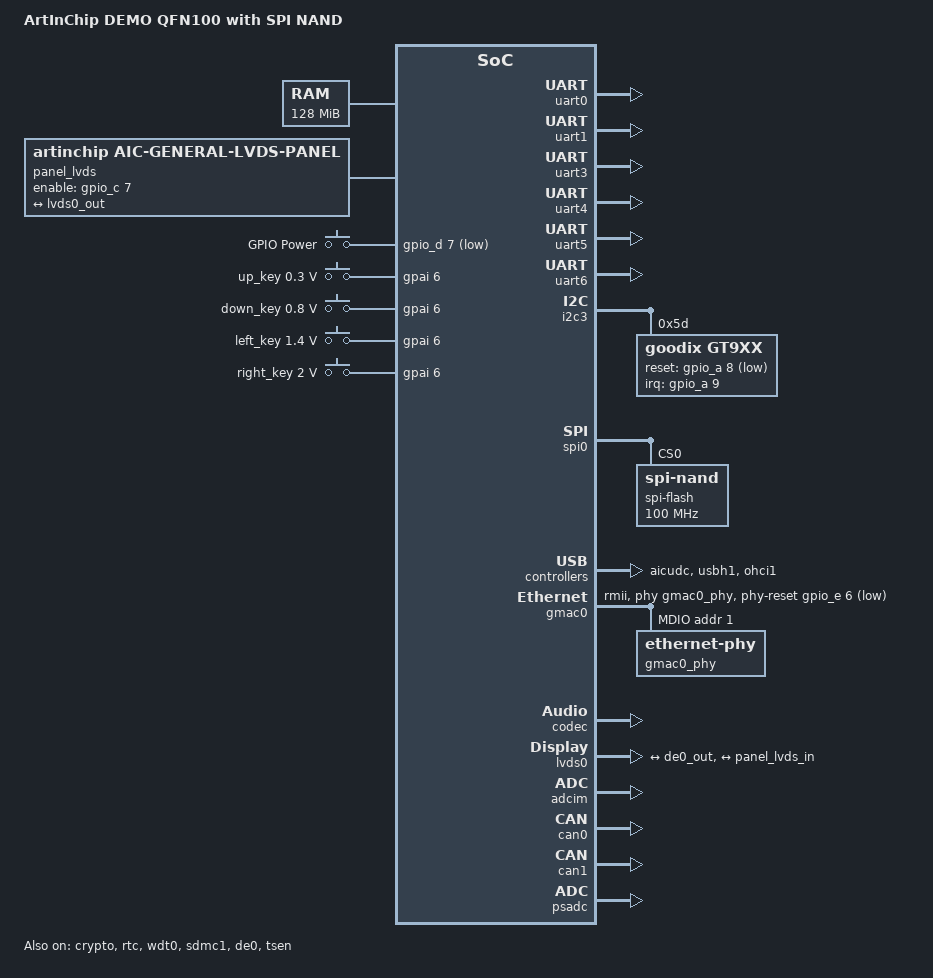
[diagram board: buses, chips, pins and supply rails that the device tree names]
/*
 * Copyright (C) 2020-2022 ArtInChip Technology Co., Ltd.
 *
 * This file is dual-licensed: you can use it either under the terms
 * of the GPL or the X11 license, at your option. Note that this dual
 * licensing only applies to this file, and not this project as a
 * whole.
 *
 *  a) This file is free software; you can redistribute it and/or
 *     modify it under the terms of the GNU General Public License as
 *     published by the Free Software Foundation; either version 2 of the
 *     License, or (at your option) any later version.
 *
 *     This file is distributed in the hope that it will be useful,
 *     but WITHOUT ANY WARRANTY; without even the implied warranty of
 *     MERCHANTABILITY or FITNESS FOR A PARTICULAR PURPOSE.  See the
 *     GNU General Public License for more details.
 *
 * Or, alternatively,
 *
 *  b) Permission is hereby granted, free of charge, to any person
 *     obtaining a copy of this software and associated documentation
 *     files (the "Software"), to deal in the Software without
 *     restriction, including without limitation the rights to use,
 *     copy, modify, merge, publish, distribute, sublicense, and/or
 *     sell copies of the Software, and to permit persons to whom the
 *     Software is furnished to do so, subject to the following
 *     conditions:
 *
 *     The above copyright notice and this permission notice shall be
 *     included in all copies or substantial portions of the Software.
 *
 *     THE SOFTWARE IS PROVIDED "AS IS", WITHOUT WARRANTY OF ANY KIND,
 *     EXPRESS OR IMPLIED, INCLUDING BUT NOT LIMITED TO THE WARRANTIES
 *     OF MERCHANTABILITY, FITNESS FOR A PARTICULAR PURPOSE AND
 *     NONINFRINGEMENT. IN NO EVENT SHALL THE AUTHORS OR COPYRIGHT
 *     HOLDERS BE LIABLE FOR ANY CLAIM, DAMAGES OR OTHER LIABILITY,
 *     WHETHER IN AN ACTION OF CONTRACT, TORT OR OTHERWISE, ARISING
 *     FROM, OUT OF OR IN CONNECTION WITH THE SOFTWARE OR THE USE OR
 *     OTHER DEALINGS IN THE SOFTWARE.
 */

/dts-v1/;
#include "d211.dtsi"
#include "d211-pinctrl.dtsi"
#include <dt-bindings/display/artinchip,aic-disp.h>
#include <dt-bindings/gpio/gpio.h>
#include <dt-bindings/pwm/pwm.h>
#include <dt-bindings/input/input.h>
#include <dt-bindings/input/linux-event-codes.h>

/ {
	model = "ArtInChip DEMO QFN100 with SPI NAND";
	compatible = "artinchip,d211";
	package = "QFN128";

	aliases {
		gpio0 = &gpio_a;
		gpio1 = &gpio_b;
		gpio2 = &gpio_c;
		gpio3 = &gpio_d;
		gpio4 = &gpio_e;
		gpio5 = &gpio_f;
		pinctrl = &pinctrl;
		serial0 = &uart0;
		serial1 = &uart1;
		serial2 = &uart2;
		serial3 = &uart3;
		serial4 = &uart4;
		serial5 = &uart5;
		serial6 = &uart6;
		serial7 = &uart7;
		i2c0 = &i2c0;
		i2c1 = &i2c1;
		i2c2 = &i2c2;
		i2c3 = &i2c3;
		can0 = &can0;
		can1 = &can1;
		spi0 = &spi0;
		spi1 = &spi1;
		spi2 = &spi2;
		spi3 = &spi3;
		gmac0 = &gmac0;
		gmac1 = &gmac1;
		rtc = &rtc;
		wdt0 = &wdt0;
		fb0 = &fb0;
		de0 = &de0;
		lvds0 = &lvds0;
		rgb0 = &rgb0;
		dsi0 = &dsi0;
		dvp0 = &dvp0;
		cir = &cir;
		adcim = &adcim;
		gpai = &gpai;
		rtp = &rtp;
		tsen = &tsen;
		pwm = &pwm;
		sdmc0 = &sdmc0;
		sdmc1 = &sdmc1;
		sdmc2 = &sdmc2;
		psadc = &psadc;
	};

	cpus {
		u-boot,dm-pre-reloc;
		cpu0: cpu@0 {
			u-boot,dm-pre-reloc;
		};
	};
	clocks {
		u-boot,dm-pre-reloc;
	};
	soc {
		u-boot,dm-pre-reloc;
	};
	timer {
		u-boot,dm-pre-reloc;
	};

	chosen {
		stdout-path = "serial0:115200n8";
		bootargs = "rdinit=/init earlycon=sbi loglevel=7";
		reset-after-fw-burn;
	};

	memory@40000000 {
		device_type = "memory";
		reg = <0x0 0x40000000 0x0 0x8000000>;
		u-boot,dm-pre-reloc;
	};

	/* Reserved 1M memory for aic ramdump
	   When enable CONFIG_AIC_RAMDUMP in linux kernel, also must enable below node.
	*/
	reserved-memory {
		#address-cells = <2>;
		#size-cells = <2>;
		ranges;

	#if 0
		aic_ramdump_buf {
			compatible = "artinchip,aic-ramdump";
			no-map;
			reg = <0x43f00000 0x100000>;
		};
	#endif
		};
#if 0
	syspower {
		compatible = "artinchip,aic-power";
		power-gpios = <&gpio_e 13 GPIO_ACTIVE_HIGH>;
	};
#endif

	panel_rgb {
		compatible = "artinchip,aic-general-rgb-panel";
		status = "disabled";

		enable-gpios = <&gpio_e 19 GPIO_ACTIVE_HIGH>;
		rgb-mode = <PRGB>;
		interface-format = <PRGB_16BIT_LD>;
		clock-phase = <DEGREE_0>;
		data-order = <RGB>;
		disp-dither = <DITHER_RGB565>;
		u-boot,dm-pre-reloc;

		port {
			u-boot,dm-pre-reloc;
			panel_rgb_in: endpoint {
				remote-endpoint = <&rgb0_out>;
				u-boot,dm-pre-reloc;
			};
		};

		display-timings {
			native-mode = <&timing0>;
			u-boot,dm-pre-reloc;
			timing0: 1024x600 {
				clock-frequency = <52000000>;
				hactive = <1024>;
				vactive = <600>;
				hback-porch = <160>;
				hfront-porch = <160>;
				hsync-len = <20>;
				vback-porch = <12>;
				vfront-porch = <20>;
				vsync-len = <3>;
				de-active = <1>;
				pixelclk-active = <1>;
				u-boot,dm-pre-reloc;
			};
		};
	};

	panel_lvds {
		compatible = "artinchip,aic-general-lvds-panel";
		data-mapping = "vesa-24";
		data-channel = "single-link1";
		status = "okay";
		u-boot,dm-pre-reloc;

		enable-gpios = <&gpio_c 7 GPIO_ACTIVE_HIGH>;
		port {
			panel_lvds_in: endpoint {
				remote-endpoint = <&lvds0_out>;
				u-boot,dm-pre-reloc;
			};
		};

		display-timings {
			native-mode = <&timing1>;
			u-boot,dm-pre-reloc;
			timing1: 1024x600 {
				clock-frequency = <52000000>;
				hactive = <1024>;
				vactive = <600>;
				hback-porch = <160>;
				hfront-porch = <160>;
				hsync-len = <20>;
				vback-porch = <20>;
				vfront-porch = <12>;
				vsync-len = <3>;
				de-active = <1>;
				pixelclk-active = <1>;
				u-boot,dm-pre-reloc;
			};
		};
	};

	backlight: backlight {
		compatible = "pwm-backlight";
		/* pwm node name; pwm device No.; period_ns; pwm_polarity */
		pwms = <&pwm 3 1000000 0>;
		brightness-levels = <0 10 20 30 40 50 60 70 80 90 100>;
		default-brightness-level = <6>;
		u-boot,dm-pre-reloc;
		status = "disabled";
	};

	keys: gpio-keys {
		compatible = "gpio-keys";

		power {
			wakeup-source;
			gpios = <&gpio_d 7 GPIO_ACTIVE_LOW>;
			label = "GPIO Power";
			linux,code = <KEY_POWER>;
		};
	};

	key_button: adc-keys {
		compatible = "adc-keys";
		io-channels = <&gpai 6>;
		io-channel-names = "buttons";
		poll-interval = <200>;
		keyup-threshold-microvolt = <3000000>;

		up-key {
			label = "up_key";
			linux,code = <KEY_UP>;
			press-threshold-microvolt = <300000>;
		};

		down-key {
			label = "down_key";
			linux,code = <KEY_DOWN>;
			press-threshold-microvolt = <800000>;
		};

		left-key {
			label = "left_key";
			linux,code = <KEY_LEFT>;
			press-threshold-microvolt = <1400000>;
		};

		right-key {
			label = "right_key";
			linux,code = <KEY_RIGHT>;
			press-threshold-microvolt = <2000000>;
		};
	};
};

&crypto {
	status = "okay";
};

&dma {
	u-boot,dm-pre-reloc;
};

&cmu {
	pll-int0 = <600000000>;
	pll-int1 = <1200000000>;
	pll-frac1 = <491520000>;
	pll-frac2 = <840000000>;
	axi0 = <240000000>;
	ahb0 = <240000000>;
	apb0 = <100000000>;
	apb1 = <24000000>;
	clk-out0 = <25000000>;
	clk-out1 = <25000000>;
	clk-out2 = <25000000>;
	clk-out3 = <25000000>;
	// clk-out0-enable;
	// clk-out1-enable;
	/* Enable clock out2 */
	clk-out2-enable;
	// clk-out3-enable;
	u-boot,dm-pre-reloc;
};

&rst {
	u-boot,dm-pre-reloc;
};

&rtc {
	aic,alarm-io-output;
	status = "okay";
};

&wdt0 {
	timeout-sec = <16>;
	status = "okay";
};

&uart0 {
	pinctrl-names = "default";
	pinctrl-0 = <&uart0_pins_a>;
	status = "okay";
	u-boot,dm-pre-reloc;
};

&uart1 {
	pinctrl-names = "default";
	pinctrl-0 = <&uart1_pins_a>;
	linux,rs485-enabled-at-boot-time;
	aic,rs485-compact-io-mode;
	status = "okay";
};

&uart2 {
	pinctrl-names = "default";
	pinctrl-0 = <&uart2_pins_a>;
	status = "disabled";
};

&uart3 {
	pinctrl-names = "default";
	pinctrl-0 = <&uart3_pins_c>;
	linux,rs485-enabled-at-boot-time;
	aic,rs485-compact-io-mode;
	status = "okay";
};

&uart4 {
	pinctrl-names = "default";
	pinctrl-0 = <&uart4_pins_b>;
	status = "okay";
};

&uart5 {
	pinctrl-names = "default";
	pinctrl-0 = <&uart5_pins_c>;
	status = "okay";
};

&uart6 {
	pinctrl-names = "default";
	pinctrl-0 = <&uart6_pins_b>;
	status = "okay";
};

&uart7 {
	pinctrl-names = "default";
	pinctrl-0 = <&uart7_pins_a>;
	status = "disabled";
};

&i2c0 {
	pinctrl-names = "default";
	pinctrl-0 = <&i2c0_pins_b>;
	status = "disabled";
	rtc@32 {
		compatible = "epson,rx8010";
		reg = <0x32>;
	};
};

&i2c1 {
	pinctrl-names = "default";
	pinctrl-0 = <&i2c1_pins_a>;
	status = "disabled";
};

&i2c2 {
	pinctrl-names = "default";
	pinctrl-0 = <&i2c2_pins_a>;
	status = "disabled";
};

&i2c3 {
	pinctrl-names = "default";
	pinctrl-0 = <&i2c3_pins_a>;
	status = "okay";

	gt9xx@5d {
		status = "okay";
		compatible = "goodix,gt9xx";
		reg = <0x5d>;
		reset-gpios = <&gpio_a 8 GPIO_ACTIVE_LOW>;
		irq-gpios = <&gpio_a 9 GPIO_ACTIVE_HIGH>;
		irq-flags = <2>;

		touchscreen-max-id = <11>;
		touchscreen-size-x = <1024>;
		touchscreen-size-y = <600>;
		touchscreen-max-w = <512>;
		touchscreen-max-p = <512>;

		goodix,int-sync = <1>;
	};
};

&spi0 {
	pinctrl-names = "default";
	pinctrl-0 = <&spi0_pins_a>;
	status = "okay";
	u-boot,dm-pre-reloc;
	spi-max-frequency = <100000000>;
	spi-flash@0 {
		#address-cells = <1>;
		#size-cells = <1>;
		compatible = "spi-nand";
		spi-max-frequency = <100000000>;
		spi-tx-bus-width = <4>;
		spi-rx-bus-width = <4>;
		reg = <0>;
		// aic,encrypt;
		// aic,spi-id = <0>;
		status = "okay";
		u-boot,dm-pre-reloc;
	};
};

&spi1 {
	pinctrl-names = "default";
	pinctrl-0 = <&spi1_pins_a>;
	status = "disabled";
};

&spi2 {
	pinctrl-names = "default";
	pinctrl-0 = <&spi2_pins_a>;
	status = "disabled";
};

&spi3 {
	pinctrl-names = "default";
	pinctrl-0 = <&spi3_pins_a>;
	status = "disabled";
};

&sdmc0 {
	pinctrl-names = "default";
	pinctrl-0 = <&sdmc0_pins>;
	bus-width = <4>;
	cap-mmc-highspeed;
	status = "disabled";
};

&sdmc1 {
	pinctrl-names = "default";
	pinctrl-0 = <&sdmc1_pins>;
	bus-width = <4>;
	cap-sd-highspeed;
	status = "okay";
	u-boot,dm-pre-reloc;
};

&sdmc2 {
	pinctrl-names = "default";
	pinctrl-0 = <&sdmc2_pins>;
	status = "disabled";
};

/* case 1: USB0 = OTG Enable */
#if 0
&otg {
	dp-sw-gpios = <&gpio_a 2 GPIO_ACTIVE_LOW>;
	otg-mode = "device";
	status = "okay";
};

&aicudc {
	pinctrl-names = "default";
	pinctrl-0 = <&usb0_pins_a>;
	status = "okay";
};

&usbh0 {
	aic,usb-ext-resistance = <0x40>;
	status = "okay";
};

&ohci0 {
	status = "okay";
};

/* case 2: USB0 = OTG Disable */
#else

&otg {
	status = "disabled";
};

/* case 2.1: USB0 = Device */
#if 1
&aicudc {
	pinctrl-names = "default";
	pinctrl-0 = <&usb0_pins_a>;
	status = "okay";
};

&usbh0 {
	aic,usb-ext-resistance = <0x40>;
	status = "disabled";
};
&ohci0 {
	status = "disabled";
};

/* case 2.2: USB0 = Host */
#else
&aicudc {
	aic,only-uboot-use;
	status = "okay";
};

&usbh0 {
	pinctrl-names = "default";
	pinctrl-0 = <&usb0_pins_a>;
	artinchip,sw_usb_phy0;
	aic,usb-ext-resistance = <0x40>;
	status = "okay";
};
&ohci0 {
	status = "okay";
};
#endif
#endif

&usbh1 {
	aic,usb-ext-resistance = <0x40>;
	status = "okay";
};
&ohci1 {
	status = "okay";
};

&pinctrl {
	u-boot,dm-pre-reloc;
	gmac0_local_pins: gmac0-2 {
		pins {
			pinmux = <AIC_PINMUX('E', 0, 6)>,
				 <AIC_PINMUX('E', 1, 6)>,
				 <AIC_PINMUX('E', 2, 6)>,
				 <AIC_PINMUX('E', 3, 6)>,
				 <AIC_PINMUX('E', 4, 6)>,
				 <AIC_PINMUX('E', 5, 6)>,
				 <AIC_PINMUX('E', 7, 6)>,
				 <AIC_PINMUX('E', 8, 6)>,
				 <AIC_PINMUX('E', 9, 6)>;
			bias-disable;
			drive-strength = <3>;
		};
	};

	pwm3_pins_d: pwm3-3 {
		pins {
			pinmux = <AIC_PINMUX('E', 19, 5)>;
			bias-disable;
			drive-strength = <3>;
		};
	};

	spk_pins_d: spk-3 {
		pins {
			pinmux = <AIC_PINMUX('E', 11, 4)>;
			bias-disable;
			drive-strength = <3>;
		};
	};
	gpio_a: bank-0 {
		u-boot,dm-pre-reloc;
	};
	gpio_b: bank-1 {
		u-boot,dm-pre-reloc;
	};
	gpio_c: bank-2 {
		u-boot,dm-pre-reloc;
	};
	gpio_d: bank-3 {
		u-boot,dm-pre-reloc;
	};
	gpio_e: bank-4 {
		u-boot,dm-pre-reloc;
	};
	gpio_f: bank-5 {
		u-boot,dm-pre-reloc;
	};
	lvds1_pins: lvds1-0 {
			u-boot,dm-pre-reloc;
		pins {
			u-boot,dm-pre-reloc;
		};
	};
	uart0_pins_a: uart0-0 {
		u-boot,dm-pre-reloc;
		pins {
			u-boot,dm-pre-reloc;
		};
	};
	spi0_pins_a: spi0-0 {
		u-boot,dm-pre-reloc;
		pins {
			u-boot,dm-pre-reloc;
		};
	};
	sdmc1_pins: sdmc1-0 {
		u-boot,dm-pre-reloc;
		pins {
			u-boot,dm-pre-reloc;
		};
	};
};

&gmac0 {
	pinctrl-names = "default";
	pinctrl-0 = <&gmac0_local_pins>, <&clk_out2_pins_b>;
	phy-handle = <&gmac0_phy>;
	phy-reset-gpios = <&gpio_e 6 GPIO_ACTIVE_HIGH>;
	phy-addr = <1>;
	phy-mode = "rmii";
	max-speed = <100>;
	aic,use_extclk;


	status = "okay";

	gmac0_mdio: mdio {
		compatible = "aicmac-mdio";
		#address-cells = <1>;
		#size-cells = <0>;
		gmac0_phy: ethernet-phy@1 {
			reg = <1>;
		};
	};
};

&gmac1 {
	status = "disabled";
};

&codec {
	pinctrl-names = "default";
	pinctrl-0 = <&spk_pins_d>, <&dmic_pins_b>;
	pa-gpios = <&gpio_a 7 GPIO_ACTIVE_LOW>;
	status = "okay";
};

&ve {
	u-boot,dm-pre-reloc;
};

/* The data flow:
 * fb ---> de ----> lvds ----> panel
 *              |-> rgb  ->|
 *              '-> dsi  ->'
 */

&fb0 {
	artinchip,uboot-logo-on=<1>;
	height-virtual = <1200>;
	u-boot,dm-pre-reloc;
	port {
		u-boot,dm-pre-reloc;
		fb0_out: endpoint {
			remote-endpoint = <&de0_in>;
			u-boot,dm-pre-reloc;
		};
	};
};

&disp {
	u-boot,dm-pre-reloc;
};

&de0 {
	status = "okay";
	u-boot,dm-pre-reloc;

	port@0 {
		reg = <0>;
		de0_in: endpoint {
			remote-endpoint = <&fb0_out>;
			u-boot,dm-pre-reloc;
		};
	};

	port@1 {
		reg = <1>;
		de0_out: endpoint {
			remote-endpoint = <&lvds0_in>;
			u-boot,dm-pre-reloc;
		};
	};
};

&rgb0 {
	pinctrl-names = "default", "sleep";
	pinctrl-0 = <&lcd_rgb565_ld_pins>;
	pinctrl-1 = <&lcd_rgb565_ld_sleep_pins>;
	u-boot,dm-pre-reloc;
	status = "disabled";

	port@0 {
		reg = <0>;
		u-boot,dm-pre-reloc;
		rgb0_in: endpoint {
			remote-endpoint = <&rgb0_in>;
			u-boot,dm-pre-reloc;
		};
	};

	port@1 {
		reg = <1>;
		u-boot,dm-pre-reloc;
		rgb0_out: endpoint {
			remote-endpoint = <&panel_rgb_in>;
			u-boot,dm-pre-reloc;
		};
	};
};

&lvds0 {
	pinctrl-names = "default";
	pinctrl-0 = <&lvds1_pins>;
	status = "okay";
	u-boot,dm-pre-reloc;

	port@0 {
		reg = <0>;
		lvds0_in: endpoint {
			remote-endpoint = <&de0_out>;
			u-boot,dm-pre-reloc;
		};
	};

	port@1 {
		reg = <1>;
		lvds0_out: endpoint {
			remote-endpoint = <&panel_lvds_in>;
			u-boot,dm-pre-reloc;
		};
	};
};

&cir {
	pinctrl-names = "default";
	pinctrl-0 = <&cir_pins_a>;
	rx-level = <1>;
	linux,rc-map-name = "rc-empty";
	status = "disabled";
};

&adcim {
	status = "okay";
};

&gpai {
	status = "disabled";
	pinctrl-names = "default";
	pinctrl-0 = <&gpai7_pins>;

	gpai0 {
		aic,sample-period-ms = <10>;
		aic,high-level-thd = <1830>;
		aic,low-level-thd = <1800>;
		status = "disabled";
	};

	gpai1 {
		status = "disabled";
	};

	gpai2 {
		status = "disabled";
	};

	gpai3 {
		status = "disabled";
	};

	gpai4 {
		status = "disabled";
	};

	gpai5 {
		status = "disabled";
	};

	gpai6 {
		status = "disabled";
	};

	gpai7 {
		status = "disabled";
	};
};

&rtp {
	aic,max-pressure = <800>;
	aic,x-plate = <235>;
	pinctrl-names = "default";
	pinctrl-0 = <&rtp_pins>;
	status = "disabled";
};

&tsen {
	status = "okay";

	tsen0 {
		status = "okay";
	};

	tsen1 {
		status = "okay";
	};
};

&pwm {
	status = "disabled";
	u-boot,dm-pre-reloc;
	pinctrl-names = "default";
	pinctrl-0 = <&pwm3_pins_d>;
	/* mode: up-count, down-count, up-down-count
	   action: none, low, high, inverse */
	pwm0 {
		aic,mode = "up-count";
		aic,tb-clk-rate = <24000000>;
		aic,rise-edge-delay = <10>;
		aic,fall-edge-delay = <10>;
		/*            CBD,    CBU,    CAD,    CAU,    PRD,   ZRO */
		aic,action0 = "none", "none", "none", "low", "none", "high";
		aic,action1 = "none", "none", "none", "high", "none", "low";
		status = "disabled";
		u-boot,dm-pre-reloc;
	};

	pwm1 {
		aic,mode = "down-count";
		aic,tb-clk-rate = <24000000>;
		aic,rise-edge-delay = <10>;
		aic,fall-edge-delay = <10>;
		/*            CBD,    CBU,    CAD,    CAU,    PRD,   ZRO */
		aic,action0 = "none", "none", "none", "low", "none", "high";
		aic,action1 = "none", "none", "none", "high", "none", "low";
		status = "disabled";
		u-boot,dm-pre-reloc;
	};

	pwm2 {
		aic,mode = "up-count";
		aic,tb-clk-rate = <24000000>;
		/*            CBD,    CBU,    CAD,    CAU,    PRD,   ZRO */
		aic,action0 = "none", "none", "none", "high", "low", "none";
		aic,action1 = "none", "none", "none", "low", "high", "none";
		aic,default-level = <0>;
		aic,rise-edge-delay = <10>;
		aic,fall-edge-delay = <10>;
		status = "okay";
		u-boot,dm-pre-reloc;
	};

	pwm3 {
		aic,mode = "up-count";
		aic,tb-clk-rate = <24000000>;
		/*            CBD,    CBU,    CAD,    CAU,    PRD,   ZRO */
		aic,action0 = "none", "none", "none", "low", "none", "high";
		aic,action1 = "none", "none", "none", "high", "none", "low";
		aic,rise-edge-delay = <10>;
		aic,fall-edge-delay = <10>;
		status = "okay";
		u-boot,dm-pre-reloc;
	};
};

&can0 {
       pinctrl-names = "default";
       pinctrl-0 = <&can0_pins_a>;
       status = "okay";
};

&can1 {
       pinctrl-names = "default";
       pinctrl-0 = <&can1_pins_a>;
       status = "okay";
};

&psadc {
	status = "okay";
	pinctrl-names = "default";
	pinctrl-0 = <&psadc6_pins>;

	psadc0 {
		status = "disabled";
	};

	psadc1 {
		status = "disabled";
	};

	psadc2 {
		status = "disabled";
	};

	psadc3 {
		status = "disabled";
	};

	psadc4 {
		status = "disabled";
	};

	psadc5 {
		status = "disabled";
	};

	psadc6 {
		status = "okay";
	};

	psadc7 {
		status = "disabled";
	};

	psadc8 {
		status = "disabled";
	};

	psadc9 {
		status = "disabled";
	};

	psadc10 {
		status = "disabled";
	};

	psadc11 {
		status = "disabled";
	};
};
